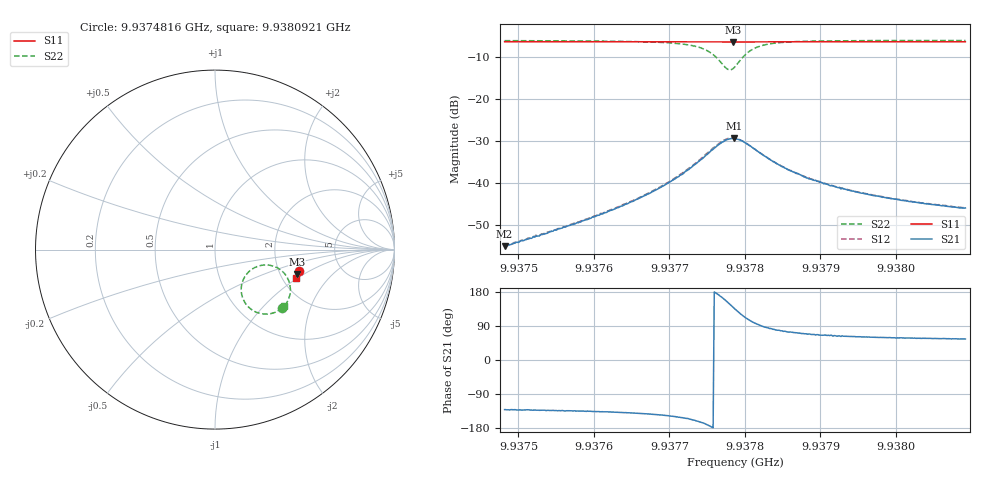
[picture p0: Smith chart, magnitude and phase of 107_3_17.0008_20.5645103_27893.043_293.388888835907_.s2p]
#  HZ  S  RI  R  50.00
! Rohde & Schwarz Vector Network Analyzer
! Rohde-Schwarz,ZNB20-2Port,1311601062101988,3.16
! Created: UTC 3/20/2024, 10:56:53 PM
! freq[Hz]  re:S11  im:S11  re:S21  im:S21  re:S12  im:S12  re:S22  im:S22
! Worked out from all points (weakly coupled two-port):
!   401 points, 9.9374816 GHz to 9.9380921 GHz, reference 50 ohm
!   highest |S21| = -29.30 dB at 9.9377854 GHz (marker M1); lowest = -54.9 dB at 9.9374816 GHz (marker M2)
!   lowest |S11| = -6.4 dB at 9.9377838 GHz (marker M3), VSWR 2.83, Z = 124 - j43.4 ohm
!   |S11| at or under -10 dB: nowhere
!   |S22| runs from -13.0 to -6.0 dB; largest |S21 - S12| = 0.0017
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9.93748164e9  0.4679 -0.1179  -0.00118 -0.00136  -0.00119 -0.00134  0.3753 -0.3244
9.93753506e9  0.4666 -0.1218  -0.00169 -0.00185  -0.00177 -0.00183  0.3678 -0.3304
9.9375839e9  0.4655 -0.1252  -0.00253 -0.00252  -0.00258 -0.00252  0.3584 -0.337
9.93764037e9  0.4642 -0.129  -0.0042 -0.00366  -0.00432 -0.0037  0.3407 -0.3466
9.93768616e9  0.4628 -0.132  -0.00715 -0.00505  -0.00734 -0.00503  0.3126 -0.3563
9.93772431e9  0.4614 -0.135  -0.0129 -0.00625  -0.0135 -0.00598  0.2612 -0.3576
9.93774721e9  0.4597 -0.1364  -0.0207 -0.00426  -0.0214 -0.00386  0.2011 -0.3325
9.93775789e9  0.4589 -0.1368  -0.0254 -0.000475  -0.0264 0.00022  0.1667 -0.2952
9.93776857e9  0.458 -0.1367  -0.0294 0.00686  -0.0301 0.00803  0.146 -0.2285
9.93777773e9  0.4577 -0.1361  -0.0294 0.0161  -0.0293 0.0175  0.1635 -0.1557
9.93778384e9  0.4576 -0.1358  -0.0262 0.0219  -0.0257 0.0234  0.1988 -0.1143
9.93778536e9  0.4577 -0.1358  -0.0251 0.0233  -0.0244 0.0246  0.21 -0.1065
9.93778689e9  0.4578 -0.1357  -0.0237 0.0242  -0.0231 0.0256  0.2218 -0.0999
9.93779452e9  0.4585 -0.1355  -0.0168 0.0277  -0.0158 0.0287  0.2828 -0.0855
9.93780368e9  0.4592 -0.1361  -0.00902 0.0278  -0.00785 0.0282  0.3435 -0.0997
9.93781894e9  0.4598 -0.1373  -0.000909 0.0234  -0.000269 0.0235  0.3974 -0.147
9.9378342e9  0.46 -0.1389  0.00227 0.0188  0.0029 0.0188  0.4157 -0.1882
9.93785404e9  0.4597 -0.1404  0.00381 0.0146  0.00431 0.0146  0.4203 -0.2244
9.93788915e9  0.4589 -0.1434  0.00427 0.0102  0.00454 0.0102  0.4151 -0.2602
9.93793341e9  0.4579 -0.1465  0.00392 0.00756  0.00408 0.00749  0.4064 -0.2829
9.93799141e9  0.4566 -0.1504  0.0034 0.00572  0.00358 0.00569  0.3976 -0.2996
9.93809214e9  0.4538 -0.1571  0.0029 0.0042  0.00296 0.00417  0.3859 -0.3157
